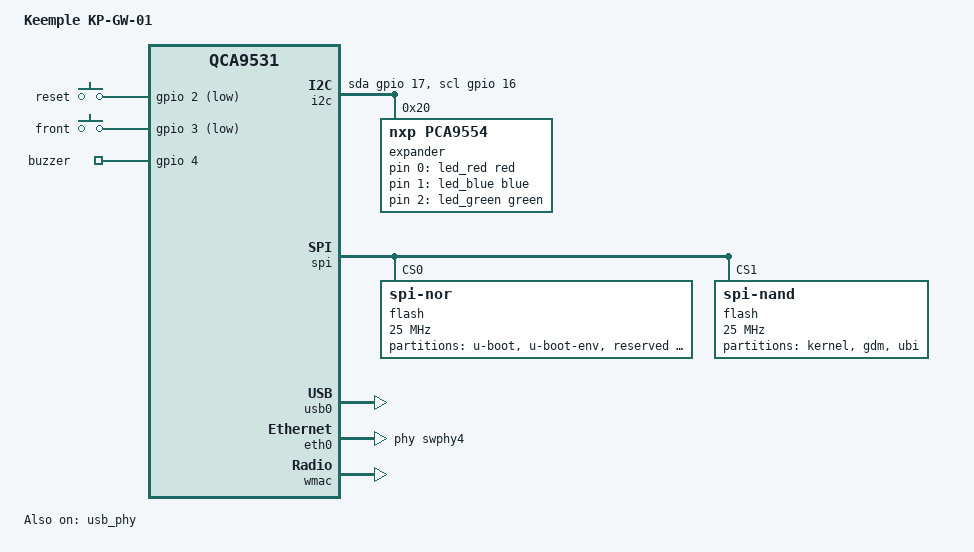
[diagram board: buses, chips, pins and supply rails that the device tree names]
// SPDX-License-Identifier: GPL-2.0-or-later OR MIT

#include "qca953x.dtsi"

#include <dt-bindings/gpio/gpio.h>
#include <dt-bindings/input/input.h>
#include <dt-bindings/leds/common.h>

/ {
	compatible = "keemple,kp-gw-01", "qca,qca9531";
	model = "Keemple KP-GW-01";

	aliases {
		label-mac-device = &eth0;
		led-boot = &led_blue;
		led-failsafe = &led_red;
		led-running = &led_blue;
		led-upgrade = &led_green;
	};

	keys {
		compatible = "gpio-keys";

		pinctrl-names = "default";
		pinctrl-0 = <&jtag_disable_pins>;

		reset {
			label = "reset";
			linux,code = <KEY_RESTART>;
			gpios = <&gpio 2 GPIO_ACTIVE_LOW>;
			debounce-interval = <60>;
		};

		front {
			label = "front";
			linux,code = <BTN_0>;
			gpios = <&gpio 3 GPIO_ACTIVE_LOW>;
			debounce-interval = <60>;
		};
	};

	leds {
		compatible = "gpio-leds";

		buzzer {
			label = "buzzer";
			gpios = <&gpio 4 GPIO_ACTIVE_HIGH>;
			default-state = "off";
		};

		led_red: red {
			function = LED_FUNCTION_STATUS;
			color = <LED_COLOR_ID_RED>;
			gpios = <&expander 0 GPIO_ACTIVE_HIGH>;
		};

		led_blue: blue {
			function = LED_FUNCTION_STATUS;
			color = <LED_COLOR_ID_BLUE>;
			gpios = <&expander 1 GPIO_ACTIVE_HIGH>;
		};

		led_green: green {
			function = LED_FUNCTION_STATUS;
			color = <LED_COLOR_ID_GREEN>;
			gpios = <&expander 2 GPIO_ACTIVE_HIGH>;
		};
	};

	i2c {
		compatible = "i2c-gpio";
		#address-cells = <1>;
		#size-cells = <0>;

		sda-gpios = <&gpio 17 (GPIO_ACTIVE_HIGH | GPIO_OPEN_DRAIN)>;
		scl-gpios = <&gpio 16 (GPIO_ACTIVE_HIGH | GPIO_OPEN_DRAIN)>;

		expander: gpio@20 {
			compatible = "nxp,pca9554";
			reg = <0x20>;

			gpio-controller;
			#gpio-cells = <2>;
		};
	};
};

&spi {
	status = "okay";

	flash@0 {
		compatible = "jedec,spi-nor";
		reg = <0>;
		spi-max-frequency = <25000000>;

		partitions {
			compatible = "fixed-partitions";
			#address-cells = <1>;
			#size-cells = <1>;

			partition@0 {
				label = "u-boot";
				reg = <0x000000 0x040000>;
				read-only;
			};

			partition@40000 {
				compatible = "u-boot,env";
				label = "u-boot-env";
				reg = <0x040000 0x010000>;
			};

			partition@50000 {
				label = "reserved";
				reg = <0x050000 0x020000>;
				read-only;
			};

			partition@70000 {
				label = "art";
				reg = <0x070000 0x010000>;
				read-only;

				nvmem-layout {
					compatible = "fixed-layout";
					#address-cells = <1>;
					#size-cells = <1>;

					macaddr_art_0: macaddr@0 {
						compatible = "mac-base";
						reg = <0x0 0x6>;
						#nvmem-cell-cells = <1>;
					};

					cal_art_1000: calibration@1000 {
						reg = <0x1000 0x440>;
					};
				};
			};
		};
	};

	flash@1 {
		compatible = "spi-nand";
		reg = <1>;
		spi-max-frequency = <25000000>;

		partitions {
			compatible = "fixed-partitions";
			#address-cells = <1>;
			#size-cells = <1>;

			partition@0 {
				label = "kernel";
				reg = <0x000000 0x400000>;
			};

			/*
			 * Vendor rootfs, gold-*, upgrade-* and security partitions.
			 * U-Boot erases upgrade-* on every boot if it holds no valid
			 * vendor image, so keep UBI out of this area.
			 */
			partition@400000 {
				label = "gdm";
				reg = <0x0400000 0x4420000>;
				read-only;
			};

			partition@4820000 {
				label = "ubi";
				reg = <0x4820000 0x37e0000>;
			};
		};
	};
};

&usb0 {
	status = "okay";
};

&usb_phy {
	status = "okay";
};

&eth0 {
	status = "okay";

	phy-handle = <&swphy4>;

	nvmem-cells = <&macaddr_art_0 0>;
	nvmem-cell-names = "mac-address";
};

// "Disable" unpopulated GMAC1

&eth1 {
	compatible = "syscon", "simple-mfd";
};

&wmac {
	status = "okay";

	nvmem-cells = <&cal_art_1000>;
	nvmem-cell-names = "calibration";
};

&pinmux {
	pinctrl-names = "default";
	pinctrl-0 = <&enable_gpio17>;

	enable_gpio17: pinmux_enable_gpio17 {
		pinctrl-single,bits = <0x10 0x0000 0xff00>;
	};
};
